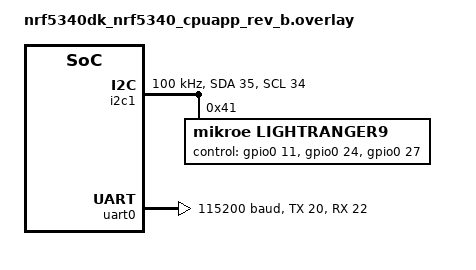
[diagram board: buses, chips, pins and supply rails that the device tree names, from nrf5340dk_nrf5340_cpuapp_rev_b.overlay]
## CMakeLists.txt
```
# SPDX-License-Identifier: Apache-2.0

cmake_minimum_required(VERSION 3.20.0)

list(APPEND ZEPHYR_EXTRA_MODULES ${CMAKE_CURRENT_SOURCE_DIR}/lightranger9_oot_driver)

find_package(Zephyr REQUIRED HINTS $ENV{ZEPHYR_BASE})
project(lightranger_broadcaster)

target_include_directories(app PRIVATE ${CMAKE_CURRENT_SOURCE_DIR}/lightranger9_oot_driver)
target_include_directories(app PRIVATE ${CMAKE_CURRENT_SOURCE_DIR}/bluetooth_brodcaster)

FILE(GLOB app_sources src/*.c)
FILE(GLOB lightranger9_drv lightranger9_oot_driver/*.c)
FILE(GLOB bt_broad bluetooth_brodcaster/*.c)

target_sources(app PRIVATE ${bt_broad})
target_sources(app PRIVATE ${lightranger9_drv})
target_sources(app PRIVATE ${app_sources})
```

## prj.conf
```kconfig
#Generic sensor configuration
CONFIG_LOG=y
CONFIG_I2C=y
CONFIG_SENSOR=y
CONFIG_SENSOR_LOG_LEVEL_DBG=y

#LIGHTRANGER9 sensor configuration
CONFIG_LIGHTRANGER9=y

#Console configuration
CONFIG_STDOUT_CONSOLE=y
CONFIG_CBPRINTF_FP_SUPPORT=y

#Bluetooth Configuration
CONFIG_BT=y
CONFIG_BT_BROADCASTER=y
CONFIG_BT_EXT_ADV=y
CONFIG_BT_DEVICE_NAME="LIGHTR9"
CONFIG_BT_DEBUG_LOG=y

CONFIG_MAIN_STACK_SIZE=7068
```

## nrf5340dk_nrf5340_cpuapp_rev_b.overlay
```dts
&i2c1 {
    compatible = "nordic,nrf-twim";
    status = "okay";
    sda-pin = < 35 >;
    scl-pin = < 34 >;
    clock-frequency = <I2C_BITRATE_STANDARD>;

    lightranger9@41 {
        status = "okay";
        compatible = "mikroe,lightranger9";
        reg = < 0x41 >;
        label = "LIGHTRANGER9";
        
        control-gpios = < &gpio0 11 (GPIO_ACTIVE_HIGH | GPIO_PULL_UP) >,
                        < &gpio0 24 (GPIO_ACTIVE_HIGH | GPIO_PULL_UP) >,
                        < &gpio0 27 (GPIO_ACTIVE_HIGH | GPIO_PULL_DOWN) >;
    };
};

&uart0 {
    status = "okay";
    current-speed = < 115200 >;
    tx-pin = < 20 >;
    rx-pin = < 22 >;
};
```

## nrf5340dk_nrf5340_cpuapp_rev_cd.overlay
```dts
&i2c1 {
    compatible = "nordic,nrf-twim";
    status = "okay";
    sda-pin = < 34 >;
    scl-pin = < 35 >;
    clock-frequency = <I2C_BITRATE_STANDARD>;

    lightranger9@41 {
        status = "okay";
        compatible = "mikroe,lightranger9";
        reg = < 0x41 >;
        label = "LIGHTRANGER9";

        control-gpios = < &gpio0 11 (GPIO_ACTIVE_HIGH | GPIO_PULL_UP) >,
                        < &gpio0 25 (GPIO_ACTIVE_HIGH | GPIO_PULL_UP) >,
                        < &gpio0 12 (GPIO_ACTIVE_HIGH | GPIO_PULL_DOWN) >;
    };
};

&uart0 {
    status = "okay";
    current-speed = < 115200 >;
    tx-pin = < 44 >;
    rx-pin = < 45 >;
};
```

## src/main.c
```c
/*
 * Copyright 2023 u-blox Ltd
 *
 * Licensed under the Apache License, Version 2.0 (the "License");
 * you may not use this file except in compliance with the License.
 * You may obtain a copy of the License at
 * 
    http://www.apache.org/licenses/LICENSE-2.0
 * 
 * Unless required by applicable law or agreed to in writing, software
 * distributed under the License is distributed on an "AS IS" BASIS,
 * WITHOUT WARRANTIES OR CONDITIONS OF ANY KIND, either express or implied.
 * See the License for the specific language governing permissions and
 * limitations under the License.
 */

/** @file
 * @brief This file implements a LightRanger9 (TMF8828) measurements broadcaster. 
 * 
 * Hardware Setup: Hardware that can be used for this implementation
 * is e a MINI-NORA-B1 Evaluation kit with a LightRanger9 (TMF8828) clickboard
 * attached to it.
 * 
 * The firmware sets up and then reads the sensor and broadcasts its
 * measurements via Bluetooth LE advertisement data.
 */

#include <kernel.h>
#include <stdio.h>
#include <drivers/sensor.h>
#include <bluetooth/bluetooth.h>
#include <bluetooth/hci.h>
#include "lightranger9.h"
#include "../bluetooth_brodcaster/bt_broadcaster.h"

/* ----------------------------------------------------------------
 * APPLICATION CONFIGURATION
 * -------------------------------------------------------------- */

/**
 * @brief Change this flag to 1 if you wish toi get
 * printing functionality for measurement data
 */
#define ENABLE_MEASUREMENT_DATA_PRINTING	1

/* ----------------------------------------------------------------
 * ZEPHYR RELATED DEFINITIONS/DECLARATIONS
 * -------------------------------------------------------------- */

#if !DT_HAS_COMPAT_STATUS_OKAY(mikroe_lightranger9)
    #error "No mikroe,lightranger9 compatible node found in the device tree"
#endif

/* ----------------------------------------------------------------
 * GLOBALS
 * -------------------------------------------------------------- */

/**
 * Measurement data
 */
static lightranger9_measurement_t bt_data;

/**
 * Simple ready flag.
 * Shows if data was parsed and is ready to be sent via BT.
 */
bool ready_flag;

/* ----------------------------------------------------------------
 * FUNCTION
 * -------------------------------------------------------------- */

#if 1 == ENABLE_MEASUREMENT_DATA_PRINTING
/**
 * @brief Print measurement
 * 
 * @param measurement  measurement data
 */
void static print_measurement(lightranger9_measurement_t *measurement);
#endif

void main( void )
{
    // Get sensor device
    const struct device *tmf  = DEVICE_DT_GET_ANY(mikroe_lightranger9);
    lightranger9_meas_cpt_t sens_data = {0};
    int ret;
    ready_flag = false;

    printk("Time Of Flight - Sensor Broadcaster Version: 1.0 \r\n\r\n");

    // check if device has been initialized properly by zephyr
    if ( !device_is_ready( tmf ) ) {
        printk( "Device %s is not ready", tmf->name );
        return;
    }

    /**
     * Enable Bluetooth functionality
     */
    ret = bt_enable(NULL);
    if (ret) {
        printk( "Could not enable Bluetooth error code (%d)", ret);
        return;
    }

    ret = bt_broadcaster_create();

    printk("Waiting for sensor measurements...\n");

    /**
     * Get sensor measurements
     */
    while ( true ) {
        /**
         * Wait for interrupt to go down.
         * Then a capture is ready.
         */
        while (lightranger9_get_interrupt_pin(tmf));

        if ( sensor_sample_fetch( tmf ) ) {
            printk( "Failed to fetch sample from LightRanger9!" );
            return;
        }

        /**
         * Copy sensor data to local structure
         * Usually the way this is done on Zephyr drivers is by 
         * calling lightranger9_channel_get() with the appropriate sensor enum which
         * returns a sensor_value type struct, containing the integer and decimal value
         * Due to the nature of the data from the ToF sensor (measurements are stored on an array)
         * we get the data from an indirect manner
         */
        lightranger9_get_measurements(tmf, &sens_data);
        ready_flag =  lightranger9_parse_measurement(&sens_data, &bt_data);
        memset(&sens_data, 0, sizeof(sens_data));

        /**
         * Broadcast a parsed measurement
         */
        if (ready_flag) {
            printk("Got new sensor measurement! Broadcasting...\n");
#if 1 == ENABLE_MEASUREMENT_DATA_PRINTING
            print_measurement(&bt_data);
#endif
            bt_broadcaster_send_message((uint8_t*)(&bt_data), sizeof(bt_data));
            memset(&bt_data, 0, sizeof(bt_data));
            ready_flag = false;
        }
    }
}


#if 1 == ENABLE_MEASUREMENT_DATA_PRINTING
void static print_measurement(lightranger9_measurement_t *measurement)
{
    uint8_t idx;

    printk("Result number: %d\n", measurement->result_number);
    printk("Die temperature: %d\n", measurement->temperature);
    printk("Valid results: %d\n", measurement->valid_results);
    printk("Ambient light: %d\n", measurement->ambient_light);
    printk("Photon count: %d\n", measurement->photon_count);
    printk("Reference count: %d\n", measurement->reference_count);
    printk("Systick: %.2f\n", measurement->sys_tick_sec);

    printk("\nObject Map 1");
    for (idx = 0; idx < LIGHTRANGER9_OBJECT_MAP_SIZE; idx ++) {
        if ((idx % 8) == 0) {
            printk("\n");
        }
        printk("%8d", measurement->obj1[idx].distance_mm);
    }

    printk("\n\nObject Map 2");
    for (idx = 0; idx < LIGHTRANGER9_OBJECT_MAP_SIZE; idx ++) {
        if ((idx % 8) == 0) {
            printk("\n");
        }
        printk("%8d", measurement->obj2[idx].distance_mm);
    }

    printk("\n\n\n\n");
}
#endif
```
